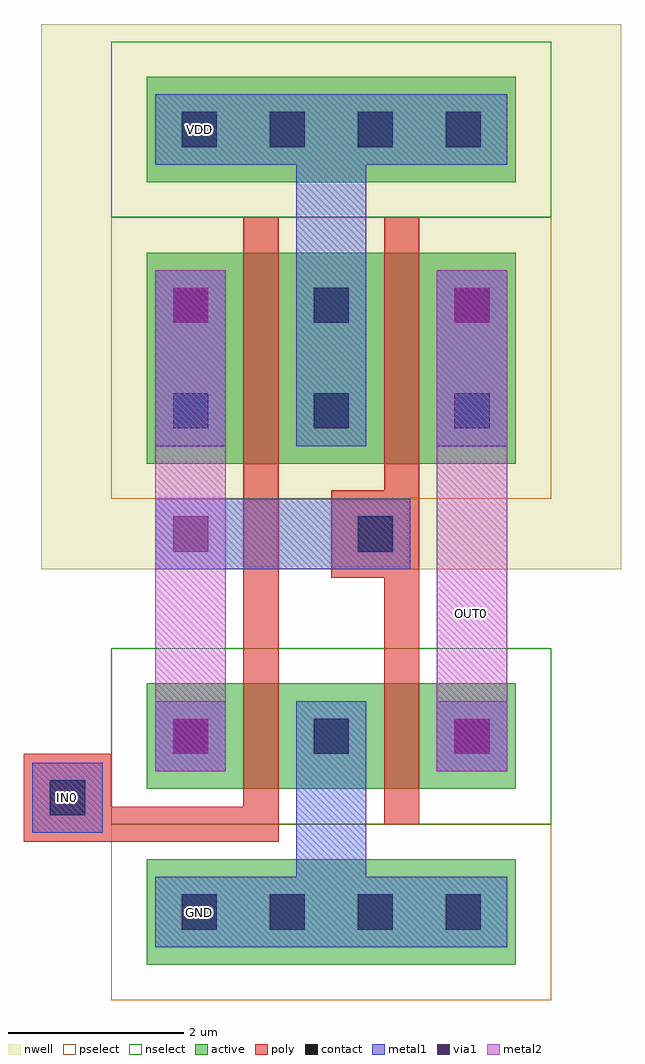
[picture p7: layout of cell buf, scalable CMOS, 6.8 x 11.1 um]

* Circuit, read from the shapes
.subckt buf GND IN0 OUT0 VDD
M1 GND IN0 n1 GND nfet w=1.2u l=0.4u
M2 OUT0 n1 GND GND nfet w=1.2u l=0.4u
M3 VDD IN0 n1 VDD pfet w=2.4u l=0.4u
M4 OUT0 n1 VDD VDD pfet w=2.4u l=0.4u
.ends

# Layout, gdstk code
import gdstk
lib = gdstk.Library(unit=1e-6, precision=1e-09)
def R(c, l, rs):  # rectangles x0, y0, x1, y1
    for r in rs: c.add(gdstk.rectangle(r[:2], r[2:], *l))
contact = (25, 0)
nwell = (42, 0)
active = (43, 0)
pselect = (44, 0)
nselect = (45, 0)
poly = (46, 0)
metal1 = (49, 0)
via1 = (50, 0)
metal2 = (51, 0)

buf = lib.new_cell('buf')
R(buf, contact, [(-2.1,-4.5,-1.7,-4.1), (-2.1,-4.5,-1.7,-4.1), (-1.1,-4.5,-0.7,-4.1), (-1.1,-4.5,-0.7,-4.1), (-1.1,-4.5,-0.7,-4.1), (-0.1,-4.5,0.3,-4.1), (-0.1,-4.5,0.3,-4.1), (-0.1,-4.5,0.3,-4.1), (0.9,-4.5,1.3,-4.1), (0.9,-4.5,1.3,-4.1), (-3.6,-3.2,-3.2,-2.8), (-2.2,-2.5,-1.8,-2.1), (-0.6,-2.5,-0.2,-2.1), (-0.6,-2.5,-0.2,-2.1), (1,-2.5,1.4,-2.1), (-0.1,-0.2,0.3,0.2), (-2.2,1.2,-1.8,1.6), (-0.6,1.2,-0.2,1.6), (-0.6,1.2,-0.2,1.6), (1,1.2,1.4,1.6), (-2.2,2.4,-1.8,2.8), (-0.6,2.4,-0.2,2.8), (-0.6,2.4,-0.2,2.8), (1,2.4,1.4,2.8), (-2.1,4.4,-1.7,4.8), (-2.1,4.4,-1.7,4.8), (-1.1,4.4,-0.7,4.8), (-1.1,4.4,-0.7,4.8), (-1.1,4.4,-0.7,4.8), (-0.1,4.4,0.3,4.8), (-0.1,4.4,0.3,4.8), (-0.1,4.4,0.3,4.8), (0.9,4.4,1.3,4.8), (0.9,4.4,1.3,4.8)])
R(buf, nwell, [(-3.7,-0.4,2.9,5.8)])
R(buf, active, [(-2.5,-4.9,0.1,-3.7), (-0.9,-4.9,1.7,-3.7), (-2.5,-2.9,0.1,-1.7), (-0.9,-2.9,1.7,-1.7), (-2.5,0.8,0.1,3.2), (-0.9,0.8,1.7,3.2), (-2.5,4,0.1,5.2), (-0.9,4,1.7,5.2)])
R(buf, pselect, [(-2.9,-5.3,0.5,-3.3), (-1.3,-5.3,2.1,-3.3), (-2.9,0.4,0.5,3.6), (-1.3,0.4,2.1,3.6)])
R(buf, nselect, [(-2.9,-3.3,0.5,-1.3), (-1.3,-3.3,2.1,-1.3), (-2.9,3.6,0.5,5.6), (-1.3,3.6,2.1,5.6)])
R(buf, poly, [(-3.9,-3.5,-2.9,-2.5), (-2.9,-3.5,-1,-3.1), (-1.4,-3.3,-1,-1.3), (0.2,-3.3,0.6,-1.3), (-1.4,-1.4,-1,0.4), (0.2,-1.4,0.6,0.4), (-0.4,-0.5,0.6,0.5), (-1.4,0.4,-1,3.6), (0.2,0.4,0.6,3.6)])
R(buf, metal1, [(-2.4,-4.7,0,-3.9), (-0.8,-4.7,1.6,-3.9), (-0.8,-4.7,0,-1.9), (-0.8,-4.7,0,-1.9), (-3.8,-3.4,-3,-2.6), (-2.4,-2.7,-1.6,-1.9), (0.8,-2.7,1.6,-1.9), (-2.4,-0.4,0.5,0.4), (-2.4,1,-1.6,3), (-0.8,1,0,5), (-0.8,1,0,5), (0.8,1,1.6,3), (-2.4,4.2,0,5), (-0.8,4.2,1.6,5)])
R(buf, via1, [(-2.2,-2.5,-1.8,-2.1), (1,-2.5,1.4,-2.1), (-2.2,-0.2,-1.8,0.2), (-2.2,2.4,-1.8,2.8), (1,2.4,1.4,2.8)])
R(buf, metal2, [(-2.4,-2.7,-1.6,3), (0.8,-2.7,1.6,3)])
buf.add(gdstk.Label('GND', (-1.9,-4.3), layer=75, texttype=0))
buf.add(gdstk.Label('VDD', (-1.9,4.6), layer=75, texttype=0))
buf.add(gdstk.Label('IN0', (-3.4,-3), layer=75, texttype=0))
buf.add(gdstk.Label('OUT0', (1.2,-0.9), layer=76, texttype=0))

lib.write_gds('buf.gds')
